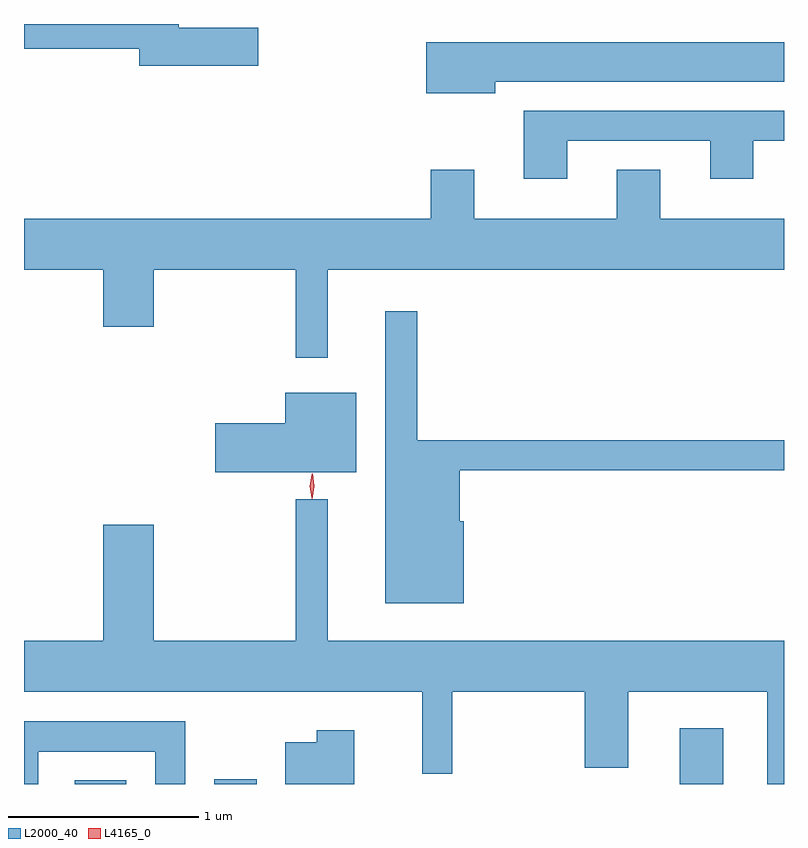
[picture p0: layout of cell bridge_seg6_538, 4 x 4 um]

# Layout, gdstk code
import gdstk
lib = gdstk.Library(unit=1e-6, precision=1e-09)
def R(c, l, rs):  # rectangles x0, y0, x1, y1
    for r in rs: c.add(gdstk.rectangle(r[:2], r[2:], *l))
def P(c, l, *ps):  # polygons
    for p in ps: c.add(gdstk.Polygon(p, *l))
L2000_40 = (2000, 40)
L4165_0 = (4165, 0)

bridge_seg6_538 = lib.new_cell('bridge_seg6_538')
R(bridge_seg6_538, L2000_40, [(434.706,1651.67,434.979,1651.689), (435.441,1651.67,435.664,1651.694), (437.891,1651.67,438.119,1651.964)])
P(bridge_seg6_538, L2000_40, [(435.674,1655.649),(435.254,1655.649),(435.254,1655.67),(434.44,1655.67),(434.44,1655.541),(435.046,1655.541),(435.046,1655.451),(435.674,1655.451)],
  [(436.919,1655.366),(438.44,1655.366),(438.44,1655.574),(436.556,1655.574),(436.556,1655.306),(436.919,1655.306)],
  [(437.299,1655.056),(438.051,1655.056),(438.051,1654.856),(438.279,1654.856),(438.279,1655.056),(438.44,1655.056),(438.44,1655.214),(437.071,1655.214),(437.071,1654.856),(437.299,1654.856)],
  [(436.039,1654.376),(438.44,1654.376),(438.44,1654.644),(437.789,1654.644),(437.789,1654.904),(437.561,1654.904),(437.561,1654.644),(436.809,1654.644),(436.809,1654.904),(436.581,1654.904),(436.581,1654.644),(434.44,1654.644),(434.44,1654.376),(434.856,1654.376),(434.856,1654.076),(435.124,1654.076),(435.124,1654.376),(435.871,1654.376),(435.871,1653.913),(436.039,1653.913)],
  [(436.754,1653.054),(436.734,1653.054),(436.734,1653.321),(438.44,1653.321),(438.44,1653.479),(436.509,1653.479),(436.509,1654.158),(436.341,1654.158),(436.341,1652.621),(436.754,1652.621)],
  [(436.189,1653.729),(435.816,1653.729),(435.816,1653.569),(435.446,1653.569),(435.446,1653.311),(436.189,1653.311)],
  [(438.44,1652.424),(436.039,1652.424),(436.039,1653.168),(435.871,1653.168),(435.871,1652.424),(435.124,1652.424),(435.124,1653.034),(434.856,1653.034),(434.856,1652.424),(434.44,1652.424),(434.44,1652.156),(436.536,1652.156),(436.536,1651.723),(436.694,1651.723),(436.694,1652.156),(437.391,1652.156),(437.391,1651.756),(437.619,1651.756),(437.619,1652.156),(438.351,1652.156),(438.351,1651.67),(438.44,1651.67)],
  [(434.514,1651.841),(435.131,1651.841),(435.131,1651.67),(435.289,1651.67),(435.289,1651.999),(434.44,1651.999),(434.44,1651.67),(434.514,1651.67)],
  [(436.179,1651.954),(435.981,1651.954),(435.981,1651.889),(435.816,1651.889),(435.816,1651.67),(436.179,1651.67)])
P(bridge_seg6_538, L4165_0, [(435.957,1653.17),(435.948,1653.238),(435.959,1653.305),(435.959,1653.306),(435.96,1653.305),(435.968,1653.238),(435.958,1653.17),(435.958,1653.17)],
  [(435.955,1653.173),(435.954,1653.174),(435.945,1653.236),(435.954,1653.3),(435.955,1653.3),(435.956,1653.3),(435.965,1653.236),(435.956,1653.174)])

lib.write_gds('bridge_seg6_538.gds')
